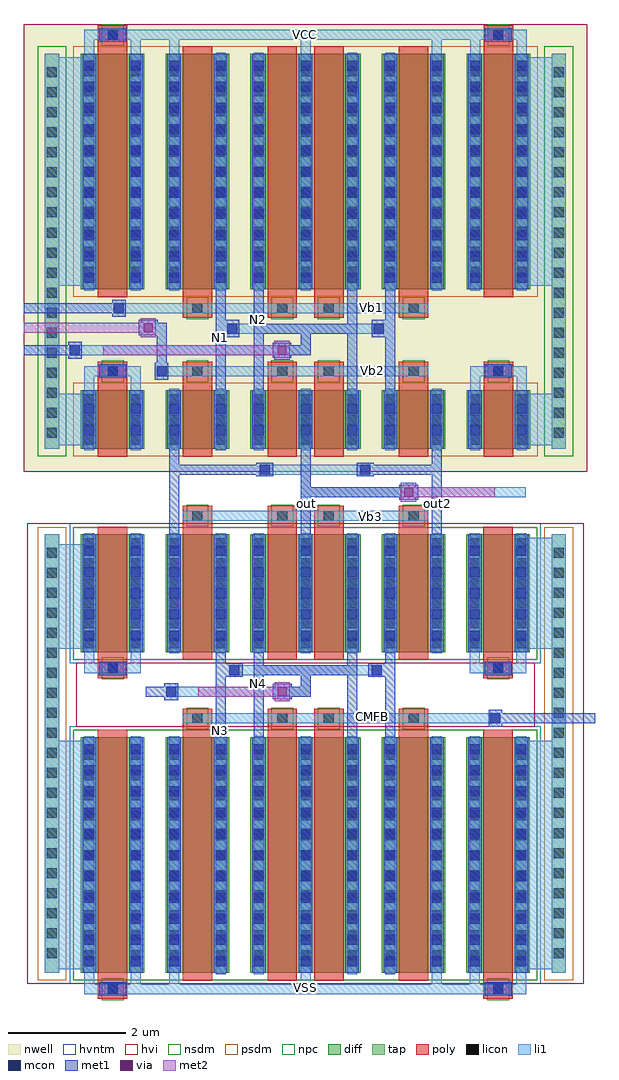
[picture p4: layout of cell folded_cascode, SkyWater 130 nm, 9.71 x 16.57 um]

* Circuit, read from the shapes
.subckt folded_cascode CMFB N1 N2 N3 N4 VCC VSS Vb1 Vb2 Vb3 out out2
XM1 VSS VSS VSS VSS sky130_fd_pr__nfet_g5v0d10v5 w=4 l=0.5 m=2
XM2 VSS VSS VSS VSS sky130_fd_pr__nfet_g5v0d10v5 w=2 l=0.5 m=2
XM3 N3 CMFB VSS VSS sky130_fd_pr__nfet_g5v0d10v5 w=4 l=0.5 m=2
XM4 N3 Vb3 out2 VSS sky130_fd_pr__nfet_g5v0d10v5 w=2 l=0.5 m=2
XM5 VSS CMFB N4 VSS sky130_fd_pr__nfet_g5v0d10v5 w=4 l=0.5 m=2
XM6 out Vb3 N4 VSS sky130_fd_pr__nfet_g5v0d10v5 w=2 l=0.5 m=2
XM7 VCC VCC VCC VCC sky130_fd_pr__pfet_g5v0d10v5 w=1 l=0.5 m=2
XM8 VCC VCC VCC VCC sky130_fd_pr__pfet_g5v0d10v5 w=4 l=0.5 m=2
XM9 N1 Vb2 out2 VCC sky130_fd_pr__pfet_g5v0d10v5 w=1 l=0.5 m=2
XM10 N1 Vb1 VCC VCC sky130_fd_pr__pfet_g5v0d10v5 w=4 l=0.5 m=2
XM11 out Vb2 N2 VCC sky130_fd_pr__pfet_g5v0d10v5 w=1 l=0.5 m=2
XM12 VCC Vb1 N2 VCC sky130_fd_pr__pfet_g5v0d10v5 w=4 l=0.5 m=2
.ends

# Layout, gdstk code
import gdstk
lib = gdstk.Library(unit=1e-6, precision=1e-09)
def R(c, l, rs):  # rectangles x0, y0, x1, y1
    for r in rs: c.add(gdstk.rectangle(r[:2], r[2:], *l))
def A(c, l, x, y, w, h, nx, ny, dx, dy):  # array of equal rectangles
    R(c, l, [(x+i*dx, y+j*dy, x+i*dx+w, y+j*dy+h) for i in range(nx) for j in range(ny)])
nwell = (64, 20)
diff = (65, 20)
tap = (65, 44)
poly = (66, 20)
licon = (66, 44)
li1 = (67, 20)
mcon = (67, 44)
met1 = (68, 20)
via = (68, 44)
met2 = (69, 20)
hvi = (75, 20)
nsdm = (93, 44)
psdm = (94, 20)
npc = (95, 20)
hvntm = (125, 20)

sky130_fd_pr__nfet_g5v0d = lib.new_cell('sky130_fd_pr__nfet_g5v0d10v5_TNWANH')
R(sky130_fd_pr__nfet_g5v0d, diff, [(-0.54,-1.845,0.54,2.155)])
R(sky130_fd_pr__nfet_g5v0d, poly, [(-0.25,-2.285,0.25,2.285)])
A(sky130_fd_pr__nfet_g5v0d, licon, -0.48, -1.63, 0.17, 0.17, 1, 11, 0, 0.34)
A(sky130_fd_pr__nfet_g5v0d, licon, 0.31, -1.63, 0.17, 0.17, 1, 11, 0, 0.34)
R(sky130_fd_pr__nfet_g5v0d, licon, [(-0.085,-2.205,0.085,-2.035)])
R(sky130_fd_pr__nfet_g5v0d, li1, [(-0.25,-2.205,0.25,-2.035), (-0.48,-1.865,-0.31,2.175), (0.31,-1.865,0.48,2.175)])
A(sky130_fd_pr__nfet_g5v0d, mcon, -0.48, -1.73, 0.17, 0.17, 1, 11, 0, 0.36)
A(sky130_fd_pr__nfet_g5v0d, mcon, 0.31, -1.73, 0.17, 0.17, 1, 11, 0, 0.36)
R(sky130_fd_pr__nfet_g5v0d, mcon, [(-0.085,-2.205,0.085,-2.035)])
R(sky130_fd_pr__nfet_g5v0d, met1, [(-0.23,-2.235,0.23,-2.005), (-0.51,-1.845,-0.28,2.155), (0.28,-1.845,0.51,2.155)])
R(sky130_fd_pr__nfet_g5v0d, hvi, [(-0.725,-2.03,0.725,2.34)])
R(sky130_fd_pr__nfet_g5v0d, nsdm, [(-0.665,-1.97,0.665,2.28)])
R(sky130_fd_pr__nfet_g5v0d, npc, [(-0.185,-2.305,0.185,-1.935)])
R(sky130_fd_pr__nfet_g5v0d, hvntm, [(-0.725,-2.03,0.725,2.34)])

c_sky130_fd_pr__nfet_g5v0d = lib.new_cell('sky130_fd_pr__nfet_g5v0d10v5_TNBBPH')
R(c_sky130_fd_pr__nfet_g5v0d, diff, [(-0.54,-2,0.54,2)])
R(c_sky130_fd_pr__nfet_g5v0d, poly, [(-0.25,-2.13,0.25,2.13)])
A(c_sky130_fd_pr__nfet_g5v0d, licon, -0.48, -1.785, 0.17, 0.17, 1, 11, 0, 0.34)
A(c_sky130_fd_pr__nfet_g5v0d, licon, 0.31, -1.785, 0.17, 0.17, 1, 11, 0, 0.34)
R(c_sky130_fd_pr__nfet_g5v0d, li1, [(-0.48,-2.02,-0.31,2.02), (0.31,-2.02,0.48,2.02)])
A(c_sky130_fd_pr__nfet_g5v0d, mcon, -0.48, -1.885, 0.17, 0.17, 1, 11, 0, 0.36)
A(c_sky130_fd_pr__nfet_g5v0d, mcon, 0.31, -1.885, 0.17, 0.17, 1, 11, 0, 0.36)
R(c_sky130_fd_pr__nfet_g5v0d, met1, [(-0.51,-2,-0.28,2), (0.28,-2,0.51,2)])
R(c_sky130_fd_pr__nfet_g5v0d, hvi, [(-0.725,-2.185,0.725,2.185)])
R(c_sky130_fd_pr__nfet_g5v0d, nsdm, [(-0.665,-2.125,0.665,2.125)])
R(c_sky130_fd_pr__nfet_g5v0d, hvntm, [(-0.725,-2.185,0.725,2.185)])

c_sky130_fd_pr__nfet_g5v0d_ = lib.new_cell('sky130_fd_pr__nfet_g5v0d10v5_NYY6SB')
R(c_sky130_fd_pr__nfet_g5v0d_, diff, [(-0.54,-0.845,0.54,1.155)])
R(c_sky130_fd_pr__nfet_g5v0d_, poly, [(-0.25,-1.285,0.25,1.285)])
A(c_sky130_fd_pr__nfet_g5v0d_, licon, -0.48, -0.78, 0.17, 0.17, 1, 6, 0, 0.34)
A(c_sky130_fd_pr__nfet_g5v0d_, licon, 0.31, -0.78, 0.17, 0.17, 1, 6, 0, 0.34)
R(c_sky130_fd_pr__nfet_g5v0d_, licon, [(-0.085,-1.205,0.085,-1.035)])
R(c_sky130_fd_pr__nfet_g5v0d_, li1, [(-0.25,-1.205,0.25,-1.035), (-0.48,-0.865,-0.31,1.175), (0.31,-0.865,0.48,1.175)])
A(c_sky130_fd_pr__nfet_g5v0d_, mcon, -0.48, -0.65, 0.17, 0.17, 1, 5, 0, 0.36)
A(c_sky130_fd_pr__nfet_g5v0d_, mcon, 0.31, -0.65, 0.17, 0.17, 1, 5, 0, 0.36)
R(c_sky130_fd_pr__nfet_g5v0d_, mcon, [(-0.085,-1.205,0.085,-1.035)])
R(c_sky130_fd_pr__nfet_g5v0d_, met1, [(-0.23,-1.235,0.23,-1.005), (-0.51,-0.845,-0.28,1.155), (0.28,-0.845,0.51,1.155)])
R(c_sky130_fd_pr__nfet_g5v0d_, hvi, [(-0.725,-1.03,0.725,1.34)])
R(c_sky130_fd_pr__nfet_g5v0d_, nsdm, [(-0.665,-0.97,0.665,1.28)])
R(c_sky130_fd_pr__nfet_g5v0d_, npc, [(-0.185,-1.305,0.185,-0.935)])
R(c_sky130_fd_pr__nfet_g5v0d_, hvntm, [(-0.725,-1.03,0.725,1.34)])

sky130_fd_pr__pfet_g5v0d = lib.new_cell('sky130_fd_pr__pfet_g5v0d10v5_NQ4LZ7#1')
R(sky130_fd_pr__pfet_g5v0d, nwell, [(-0.72,-0.81,0.72,0.81)])
R(sky130_fd_pr__pfet_g5v0d, diff, [(-0.54,-0.5,0.54,0.5)])
R(sky130_fd_pr__pfet_g5v0d, poly, [(-0.25,-0.63,0.25,0.63)])
A(sky130_fd_pr__pfet_g5v0d, licon, -0.48, -0.425, 0.17, 0.17, 1, 3, 0, 0.34)
A(sky130_fd_pr__pfet_g5v0d, licon, 0.31, -0.425, 0.17, 0.17, 1, 3, 0, 0.34)
R(sky130_fd_pr__pfet_g5v0d, li1, [(-0.48,-0.52,-0.31,0.52), (0.31,-0.52,0.48,0.52)])
R(sky130_fd_pr__pfet_g5v0d, mcon, [(-0.48,-0.265,-0.31,-0.095), (0.31,-0.265,0.48,-0.095), (-0.48,0.095,-0.31,0.265), (0.31,0.095,0.48,0.265)])
R(sky130_fd_pr__pfet_g5v0d, met1, [(-0.51,-0.5,-0.28,0.5), (0.28,-0.5,0.51,0.5)])
R(sky130_fd_pr__pfet_g5v0d, hvi, [(-0.72,-0.81,0.72,-0.685), (-0.725,-0.685,0.725,0.685), (-0.72,0.685,0.72,0.81)])
R(sky130_fd_pr__pfet_g5v0d, psdm, [(-0.665,-0.625,0.665,0.625)])

c_sky130_fd_pr__pfet_g5v0d = lib.new_cell('sky130_fd_pr__pfet_g5v0d10v5_ZUVZZ7')
R(c_sky130_fd_pr__pfet_g5v0d, nwell, [(-0.72,-0.99,0.72,0.82)])
R(c_sky130_fd_pr__pfet_g5v0d, diff, [(-0.54,-0.68,0.54,0.32)])
R(c_sky130_fd_pr__pfet_g5v0d, poly, [(-0.25,-0.81,0.25,0.805)])
A(c_sky130_fd_pr__pfet_g5v0d, licon, -0.48, -0.605, 0.17, 0.17, 1, 3, 0, 0.34)
A(c_sky130_fd_pr__pfet_g5v0d, licon, 0.31, -0.605, 0.17, 0.17, 1, 3, 0, 0.34)
R(c_sky130_fd_pr__pfet_g5v0d, licon, [(-0.085,0.555,0.085,0.725)])
R(c_sky130_fd_pr__pfet_g5v0d, li1, [(-0.48,-0.7,-0.31,0.34), (0.31,-0.7,0.48,0.34), (-0.25,0.555,0.25,0.725)])
R(c_sky130_fd_pr__pfet_g5v0d, mcon, [(-0.48,-0.445,-0.31,-0.275), (0.31,-0.445,0.48,-0.275), (-0.48,-0.085,-0.31,0.085), (0.31,-0.085,0.48,0.085), (-0.085,0.555,0.085,0.725)])
R(c_sky130_fd_pr__pfet_g5v0d, met1, [(-0.51,-0.68,-0.28,0.32), (0.28,-0.68,0.51,0.32), (-0.23,0.525,0.23,0.755)])
R(c_sky130_fd_pr__pfet_g5v0d, hvi, [(-0.72,-0.99,0.72,-0.865), (-0.725,-0.865,0.725,0.505), (-0.72,0.505,0.72,0.82)])
R(c_sky130_fd_pr__pfet_g5v0d, psdm, [(-0.665,-0.805,0.665,0.445)])
R(c_sky130_fd_pr__pfet_g5v0d, npc, [(-0.185,0.455,0.185,0.825)])

c_sky130_fd_pr__nfet_g5v0d__ = lib.new_cell('sky130_fd_pr__nfet_g5v0d10v5_NY97Z6#0')
R(c_sky130_fd_pr__nfet_g5v0d__, diff, [(-0.54,-1,0.54,1)])
R(c_sky130_fd_pr__nfet_g5v0d__, poly, [(-0.25,-1.13,0.25,1.13)])
A(c_sky130_fd_pr__nfet_g5v0d__, licon, -0.48, -0.935, 0.17, 0.17, 1, 6, 0, 0.34)
A(c_sky130_fd_pr__nfet_g5v0d__, licon, 0.31, -0.935, 0.17, 0.17, 1, 6, 0, 0.34)
R(c_sky130_fd_pr__nfet_g5v0d__, li1, [(-0.48,-1.02,-0.31,1.02), (0.31,-1.02,0.48,1.02)])
A(c_sky130_fd_pr__nfet_g5v0d__, mcon, -0.48, -0.805, 0.17, 0.17, 1, 5, 0, 0.36)
A(c_sky130_fd_pr__nfet_g5v0d__, mcon, 0.31, -0.805, 0.17, 0.17, 1, 5, 0, 0.36)
R(c_sky130_fd_pr__nfet_g5v0d__, met1, [(-0.51,-1,-0.28,1), (0.28,-1,0.51,1)])
R(c_sky130_fd_pr__nfet_g5v0d__, hvi, [(-0.725,-1.185,0.725,1.185)])
R(c_sky130_fd_pr__nfet_g5v0d__, nsdm, [(-0.665,-1.125,0.665,1.125)])
R(c_sky130_fd_pr__nfet_g5v0d__, hvntm, [(-0.725,-1.185,0.725,1.185)])

c_sky130_fd_pr__pfet_g5v0d_ = lib.new_cell('sky130_fd_pr__pfet_g5v0d10v5_DEERZ7')
R(c_sky130_fd_pr__pfet_g5v0d_, nwell, [(-0.72,-2.49,0.72,2.32)])
R(c_sky130_fd_pr__pfet_g5v0d_, diff, [(-0.54,-2.18,0.54,1.82)])
R(c_sky130_fd_pr__pfet_g5v0d_, poly, [(-0.25,-2.31,0.25,2.305)])
A(c_sky130_fd_pr__pfet_g5v0d_, licon, -0.48, -1.965, 0.17, 0.17, 1, 11, 0, 0.34)
A(c_sky130_fd_pr__pfet_g5v0d_, licon, 0.31, -1.965, 0.17, 0.17, 1, 11, 0, 0.34)
R(c_sky130_fd_pr__pfet_g5v0d_, licon, [(-0.085,2.055,0.085,2.225)])
R(c_sky130_fd_pr__pfet_g5v0d_, li1, [(-0.48,-2.2,-0.31,1.84), (0.31,-2.2,0.48,1.84), (-0.25,2.055,0.25,2.225)])
A(c_sky130_fd_pr__pfet_g5v0d_, mcon, -0.48, -2.065, 0.17, 0.17, 1, 11, 0, 0.36)
A(c_sky130_fd_pr__pfet_g5v0d_, mcon, 0.31, -2.065, 0.17, 0.17, 1, 11, 0, 0.36)
R(c_sky130_fd_pr__pfet_g5v0d_, mcon, [(-0.085,2.055,0.085,2.225)])
R(c_sky130_fd_pr__pfet_g5v0d_, met1, [(-0.51,-2.18,-0.28,1.82), (0.28,-2.18,0.51,1.82), (-0.23,2.025,0.23,2.255)])
R(c_sky130_fd_pr__pfet_g5v0d_, hvi, [(-0.72,-2.49,0.72,-2.365), (-0.725,-2.365,0.725,2.005), (-0.72,2.005,0.72,2.32)])
R(c_sky130_fd_pr__pfet_g5v0d_, psdm, [(-0.665,-2.305,0.665,1.945)])
R(c_sky130_fd_pr__pfet_g5v0d_, npc, [(-0.185,1.955,0.185,2.325)])

c_sky130_fd_pr__pfet_g5v0d__ = lib.new_cell('sky130_fd_pr__pfet_g5v0d10v5_JEERZ7#0')
R(c_sky130_fd_pr__pfet_g5v0d__, nwell, [(-0.72,-2.31,0.72,2.31)])
R(c_sky130_fd_pr__pfet_g5v0d__, diff, [(-0.54,-2,0.54,2)])
R(c_sky130_fd_pr__pfet_g5v0d__, poly, [(-0.25,-2.13,0.25,2.13)])
A(c_sky130_fd_pr__pfet_g5v0d__, licon, -0.48, -1.785, 0.17, 0.17, 1, 11, 0, 0.34)
A(c_sky130_fd_pr__pfet_g5v0d__, licon, 0.31, -1.785, 0.17, 0.17, 1, 11, 0, 0.34)
R(c_sky130_fd_pr__pfet_g5v0d__, li1, [(-0.48,-2.02,-0.31,2.02), (0.31,-2.02,0.48,2.02)])
A(c_sky130_fd_pr__pfet_g5v0d__, mcon, -0.48, -1.885, 0.17, 0.17, 1, 11, 0, 0.36)
A(c_sky130_fd_pr__pfet_g5v0d__, mcon, 0.31, -1.885, 0.17, 0.17, 1, 11, 0, 0.36)
R(c_sky130_fd_pr__pfet_g5v0d__, met1, [(-0.51,-2,-0.28,2), (0.28,-2,0.51,2)])
R(c_sky130_fd_pr__pfet_g5v0d__, hvi, [(-0.72,-2.31,0.72,-2.185), (-0.725,-2.185,0.725,2.185), (-0.72,2.185,0.72,2.31)])
R(c_sky130_fd_pr__pfet_g5v0d__, psdm, [(-0.665,-2.125,0.665,2.125)])

folded_cascode = lib.new_cell('folded_cascode')
R(folded_cascode, nwell, [(-3.71,-1.715,5.855,5.88)])
R(folded_cascode, tap, [(-3.35,-10.225,-3.11,-2.78), (5.255,-10.225,5.495,-2.78), (-3.35,-1.33,-3.11,5.38), (5.255,-1.33,5.495,5.38)])
R(folded_cascode, poly, [(-1.01,-6.225,-0.51,-5.74), (0.43,-6.225,0.93,-5.74), (1.22,-6.225,1.72,-5.74), (2.66,-6.225,3.16,-5.74), (-1.01,-2.78,-0.51,-2.295), (0.43,-2.78,0.93,-2.295), (1.22,-2.78,1.72,-2.295), (2.66,-2.78,3.16,-2.295), (-1.01,-0.33,-0.51,0.155), (0.43,-0.33,0.93,0.155), (1.22,-0.33,1.72,0.155), (2.66,-0.33,3.16,0.155), (-1.01,0.895,-0.51,1.38), (0.43,0.895,0.93,1.38), (1.22,0.895,1.72,1.38), (2.66,0.895,3.16,1.38)])
A(folded_cascode, licon, -3.315, -9.975, 0.17, 0.17, 1, 21, 0, 0.34)
A(folded_cascode, licon, 5.29, -9.975, 0.17, 0.17, 1, 21, 0, 0.34)
A(folded_cascode, licon, -3.315, -1.14, 0.17, 0.17, 1, 19, 0, 0.34)
A(folded_cascode, licon, 5.29, -1.14, 0.17, 0.17, 1, 19, 0, 0.34)
R(folded_cascode, licon, [(-0.845,-5.99,-0.675,-5.82), (0.595,-5.99,0.765,-5.82), (1.385,-5.99,1.555,-5.82), (2.825,-5.99,2.995,-5.82), (-0.845,-2.545,-0.675,-2.375), (0.595,-2.545,0.765,-2.375), (1.385,-2.545,1.555,-2.375), (2.825,-2.545,2.995,-2.375), (-0.845,-0.095,-0.675,0.075), (0.595,-0.095,0.765,0.075), (1.385,-0.095,1.555,0.075), (2.825,-0.095,2.995,0.075), (-0.845,0.975,-0.675,1.145), (0.595,0.975,0.765,1.145), (1.385,0.975,1.555,1.145), (2.825,0.975,2.995,1.145)])
R(folded_cascode, li1, [(-2.68,-10.585,4.825,-10.415), (-2.68,-10.415,-2.51,-10.165), (-1.89,-10.415,-1.72,-10.11), (-1.24,-10.415,-1.07,-10.02), (0.99,-10.415,1.16,-10.155), (3.22,-10.415,3.39,-10.055), (3.865,-10.415,4.035,-10.12), (4.655,-10.415,4.825,-10.165), (-3.35,-10.225,-3.11,-10.165), (5.255,-10.225,5.495,-10.165), (-3.35,-10.165,-2.51,-10.07), (4.655,-10.165,5.495,-6.285), (-3.35,-10.07,-2.65,-6.285), (-3.35,-6.285,-3.11,-4.72), (5.255,-6.285,5.495,-4.72), (-1.01,-5.99,4.385,-5.82), (-1.29,-5.535,1.16,-5.365), (0.99,-5.365,1.16,-5.17), (-0.22,-5.17,2.37,-5), (-2.68,-5.14,-1.72,-4.97), (3.865,-5.14,4.825,-4.97), (-2.68,-4.97,-2.51,-4.72), (-1.89,-4.97,-1.72,-4.67), (3.865,-4.97,4.035,-4.66), (4.655,-4.97,4.825,-4.72), (-3.35,-4.72,-2.51,-4.635), (4.655,-4.72,5.495,-2.84), (-3.35,-4.635,-2.67,-2.95), (-3.35,-2.95,-3.11,-2.78), (5.255,-2.84,5.495,-2.78), (-1.01,-2.545,3.16,-2.375), (0.995,-2.15,4.815,-1.98), (0.995,-1.98,1.165,-1.765), (0.295,-1.765,2.175,-1.595), (-3.35,-1.33,-3.11,-1.27), (5.255,-1.33,5.495,-1.27), (-3.35,-1.27,-2.67,-0.61), (4.66,-1.27,5.495,-0.39), (-3.35,-0.61,-2.51,-0.39), (3.87,-0.515,4.04,-0.095), (-3.35,-0.39,-3.11,1.44), (-2.68,-0.39,-2.51,-0.095), (-1.89,-0.39,-1.72,-0.095), (4.66,-0.39,4.83,-0.095), (5.255,-0.39,5.495,1.44), (-2.68,-0.095,-1.72,0.075), (-1.455,-0.095,3.16,0.075), (3.87,-0.095,4.83,0.075), (-2.925,0.26,1.16,0.43), (0.99,0.43,1.16,0.63), (-0.25,0.63,2.4,0.8), (-2.18,0.975,3.16,1.145), (-3.35,1.44,-2.655,4.97), (4.66,1.44,5.495,5.32), (-3.35,4.97,-2.51,5.32), (3.22,5.09,3.39,5.615), (0.99,5.14,1.16,5.615), (-1.89,5.18,-1.72,5.615), (3.87,5.18,4.04,5.615), (-1.235,5.31,-1.065,5.615), (-3.35,5.32,-3.11,5.38), (-2.68,5.32,-2.51,5.615), (4.66,5.32,4.83,5.615), (5.255,5.32,5.495,5.38), (-2.68,5.615,4.83,5.785)])
R(folded_cascode, mcon, [(4.215,-5.99,4.385,-5.82), (-1.29,-5.535,-1.12,-5.365), (-0.22,-5.17,-0.05,-5), (2.2,-5.17,2.37,-5), (0.295,-1.765,0.465,-1.595), (2.005,-1.765,2.175,-1.595), (-1.455,-0.095,-1.285,0.075), (-2.925,0.26,-2.755,0.43), (-0.25,0.63,-0.08,0.8), (2.23,0.63,2.4,0.8), (-2.18,0.975,-2.01,1.145)])
R(folded_cascode, met1, [(-0.45,-10.245,-0.28,-5.2), (2.43,-10.245,2.6,-5.2), (0.2,-10.165,0.37,-5.17), (1.78,-10.165,1.95,-5.17), (4.185,-6.05,4.415,-5.99), (4.185,-5.99,5.995,-5.82), (4.185,-5.82,4.415,-5.76), (-1.32,-5.595,-1.09,-5.535), (0.52,-5.58,0.84,-5.535), (-1.635,-5.535,-1.09,-5.365), (0.52,-5.535,1.16,-5.365), (-1.32,-5.365,-1.09,-5.305), (0.52,-5.365,0.84,-5.32), (0.99,-5.365,1.16,-5.17), (-0.45,-5.2,0.01,-4.97), (2.14,-5.2,2.6,-4.97), (0.2,-5.17,1.95,-5), (0.2,-5,0.37,-4.47), (1.78,-5,1.95,-4.35), (-0.45,-4.97,-0.28,-4.51), (2.43,-4.97,2.6,-4.66), (3.22,-3.15,3.39,-1.765), (0.99,-3.015,1.16,-2.15), (-1.24,-2.92,-1.07,-1.765), (2.665,-2.195,2.985,-2.15), (0.99,-2.15,2.985,-1.98), (0.99,-1.98,1.16,-0.57), (2.665,-1.98,2.985,-1.935), (0.235,-1.795,0.525,-1.765), (1.945,-1.795,2.235,-1.765), (-1.24,-1.765,0.525,-1.595), (1.945,-1.765,3.39,-1.595), (-1.24,-1.595,-1.07,-0.965), (0.235,-1.595,0.525,-1.565), (1.945,-1.595,2.235,-1.565), (3.22,-1.595,3.39,-1.185), (-0.45,-1.35,-0.28,0.57), (0.2,-1.27,0.37,0.63), (1.785,-0.62,1.955,0.63), (2.43,-0.52,2.6,0.57), (-1.485,-0.155,-1.255,0.135), (-1.455,0.135,-1.285,0.6), (-2.955,0.2,-2.725,0.26), (0.515,0.215,0.835,0.26), (-3.71,0.26,-2.725,0.43), (0.515,0.26,1.16,0.43), (-2.955,0.43,-2.725,0.49), (0.515,0.43,0.835,0.475), (0.99,0.43,1.16,0.63), (-0.45,0.57,-0.05,0.86), (2.2,0.57,2.6,0.86), (-1.755,0.6,-1.285,0.815), (0.2,0.63,1.955,0.8), (0.2,0.8,0.37,1.51), (1.785,0.8,1.955,1.605), (-1.755,0.815,-1.435,0.86), (-0.45,0.86,-0.28,1.565), (2.43,0.86,2.6,1.59), (-2.21,0.915,-1.98,0.975), (-3.71,0.975,-1.98,1.145), (-2.21,1.145,-1.98,1.205)])
R(folded_cascode, via, [(0.605,-5.525,0.755,-5.375), (2.75,-2.14,2.9,-1.99), (0.6,0.27,0.75,0.42), (-1.67,0.655,-1.52,0.805)])
R(folded_cascode, met2, [(0.55,-5.61,0.81,-5.535), (-0.75,-5.535,0.81,-5.365), (0.55,-5.365,0.81,-5.29), (2.695,-2.225,2.955,-2.15), (2.695,-2.15,4.29,-1.98), (2.695,-1.98,2.955,-1.905), (0.545,0.185,0.805,0.26), (-2.355,0.26,0.805,0.43), (0.545,0.43,0.805,0.505), (-1.725,0.57,-1.465,0.645), (-3.71,0.645,-1.465,0.815), (-1.725,0.815,-1.465,0.89)])
R(folded_cascode, hvi, [(-3.65,-10.41,-2.81,-2.595), (4.955,-10.41,5.795,-2.595), (-3.71,-1.715,5.855,5.88)])
R(folded_cascode, nsdm, [(-1.535,-10.35,-1.425,-6.1), (-0.095,-10.35,0.015,-6.1), (2.135,-10.35,2.245,-6.1), (3.575,-10.35,3.68,-6.1), (-1.535,-4.905,-1.425,-2.655), (-0.095,-4.905,0.015,-2.655), (2.135,-4.905,2.245,-2.655), (3.575,-4.905,3.68,-2.655), (-3.475,-1.455,-2.985,5.505), (5.13,-1.455,5.62,5.505)])
R(folded_cascode, psdm, [(-3.475,-10.35,-2.985,-2.655), (5.13,-10.35,5.62,-2.655), (-1.535,-1.455,-1.425,-0.205), (-0.095,-1.455,0.015,-0.205), (2.135,-1.455,2.245,-0.205), (3.575,-1.455,3.685,-0.205), (-1.535,1.255,-1.425,5.505), (-0.095,1.255,0.015,5.505), (2.135,1.255,2.245,5.505), (3.575,1.255,3.685,5.505)])
R(folded_cascode, npc, [(-0.945,-6.09,-0.575,-5.72), (0.495,-6.09,0.865,-5.72), (1.285,-6.09,1.655,-5.72), (2.725,-6.09,3.095,-5.72), (-0.945,-2.645,-0.575,-2.275), (0.495,-2.645,0.865,-2.275), (1.285,-2.645,1.655,-2.275), (2.725,-2.645,3.095,-2.275), (-0.945,-0.195,-0.575,0.175), (0.495,-0.195,0.865,0.175), (1.285,-0.195,1.655,0.175), (2.725,-0.195,3.095,0.175), (-0.945,0.875,-0.575,1.245), (0.495,0.875,0.865,1.245), (1.285,0.875,1.655,1.245), (2.725,0.875,3.095,1.245)])
folded_cascode.add(gdstk.Reference(sky130_fd_pr__nfet_g5v0d, (-2.2,-8.38)))
folded_cascode.add(gdstk.Reference(c_sky130_fd_pr__nfet_g5v0d, (-0.76,-8.225)))
folded_cascode.add(gdstk.Reference(c_sky130_fd_pr__nfet_g5v0d, (0.68,-8.225)))
folded_cascode.add(gdstk.Reference(c_sky130_fd_pr__nfet_g5v0d, (1.47,-8.225)))
folded_cascode.add(gdstk.Reference(c_sky130_fd_pr__nfet_g5v0d, (2.91,-8.225)))
folded_cascode.add(gdstk.Reference(sky130_fd_pr__nfet_g5v0d, (4.345,-8.38)))
folded_cascode.add(gdstk.Reference(c_sky130_fd_pr__nfet_g5v0d_, (-2.2,-3.935)))
folded_cascode.add(gdstk.Reference(sky130_fd_pr__pfet_g5v0d, (-0.76,-0.83)))
folded_cascode.add(gdstk.Reference(c_sky130_fd_pr__pfet_g5v0d, (-2.2,-0.65)))
folded_cascode.add(gdstk.Reference(c_sky130_fd_pr__nfet_g5v0d__, (0.68,-3.78)))
folded_cascode.add(gdstk.Reference(c_sky130_fd_pr__nfet_g5v0d__, (-0.76,-3.78)))
folded_cascode.add(gdstk.Reference(sky130_fd_pr__pfet_g5v0d, (0.68,-0.83)))
folded_cascode.add(gdstk.Reference(c_sky130_fd_pr__nfet_g5v0d__, (1.47,-3.78)))
folded_cascode.add(gdstk.Reference(sky130_fd_pr__pfet_g5v0d, (1.47,-0.83)))
folded_cascode.add(gdstk.Reference(sky130_fd_pr__pfet_g5v0d, (2.91,-0.83)))
folded_cascode.add(gdstk.Reference(c_sky130_fd_pr__nfet_g5v0d__, (2.91,-3.78)))
folded_cascode.add(gdstk.Reference(c_sky130_fd_pr__nfet_g5v0d_, (4.345,-3.935)))
folded_cascode.add(gdstk.Reference(c_sky130_fd_pr__pfet_g5v0d, (4.35,-0.65)))
folded_cascode.add(gdstk.Reference(c_sky130_fd_pr__pfet_g5v0d_, (-2.2,3.56)))
folded_cascode.add(gdstk.Reference(c_sky130_fd_pr__pfet_g5v0d__, (-0.76,3.38)))
folded_cascode.add(gdstk.Reference(c_sky130_fd_pr__pfet_g5v0d__, (0.68,3.38)))
folded_cascode.add(gdstk.Reference(c_sky130_fd_pr__pfet_g5v0d__, (1.47,3.38)))
folded_cascode.add(gdstk.Reference(c_sky130_fd_pr__pfet_g5v0d__, (2.91,3.38)))
folded_cascode.add(gdstk.Reference(c_sky130_fd_pr__pfet_g5v0d_, (4.35,3.56)))
folded_cascode.add(gdstk.Label('Vb2', (2.21,0.01), layer=67, texttype=5))
folded_cascode.add(gdstk.Label('VCC', (1.06,5.71), layer=67, texttype=5))
folded_cascode.add(gdstk.Label('Vb1', (2.2,1.07), layer=67, texttype=5))
folded_cascode.add(gdstk.Label('N2', (0.285,0.86), layer=68, texttype=5))
folded_cascode.add(gdstk.Label('N1', (-0.375,0.555), layer=68, texttype=5))
folded_cascode.add(gdstk.Label('Vb3', (2.185,-2.475), layer=67, texttype=5))
folded_cascode.add(gdstk.Label('out', (1.095,-2.255), layer=68, texttype=5))
folded_cascode.add(gdstk.Label('out2', (3.315,-2.255), layer=68, texttype=5))
folded_cascode.add(gdstk.Label('N3', (-0.375,-6.115), layer=68, texttype=5))
folded_cascode.add(gdstk.Label('CMFB', (2.21,-5.87), layer=67, texttype=5))
folded_cascode.add(gdstk.Label('VSS', (1.07,-10.475), layer=67, texttype=5))
folded_cascode.add(gdstk.Label('N4', (0.28,-5.305), layer=68, texttype=5))

lib.write_gds('folded_cascode.gds')
